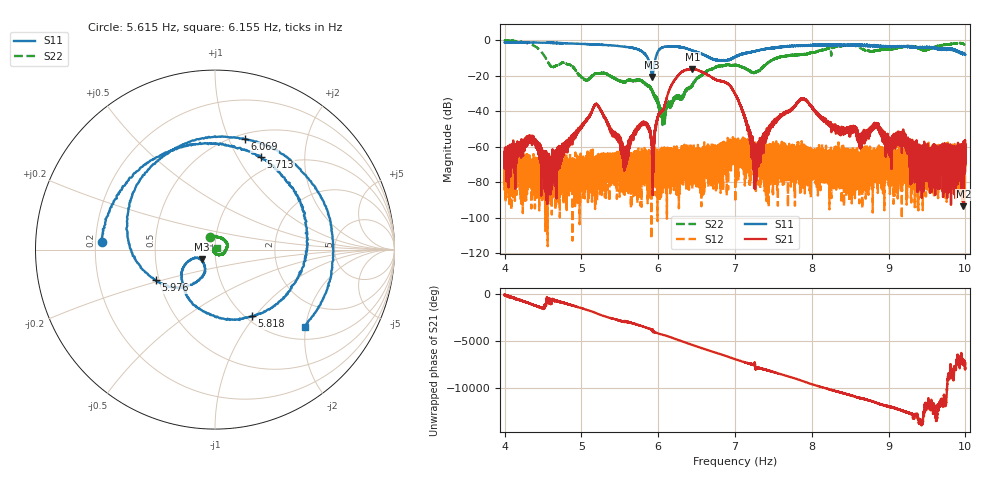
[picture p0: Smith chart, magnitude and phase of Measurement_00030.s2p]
!Created with skrf (http://scikit-rf.org).
# Hz S RI R 50.0
!freq ReS11 ImS11 ReS21 ImS21 ReS12 ImS12 ReS22 ImS22
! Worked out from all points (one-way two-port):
!   14001 points, 4 Hz to 10 Hz, reference 50 ohm
!   highest |S21| = -16.33 dB at 6.446 Hz (marker M1); lowest = -93.6 dB at 9.974 Hz (marker M2)
!   lowest |S11| = -20.7 dB at 5.921 Hz (marker M3), VSWR 1.20, Z = 42.8 - j4.61 ohm
!   |S11| at or under -10 dB: 5.863 Hz to 5.967 Hz (104.1 mHz wide, 1.76 % of centre); 6.678 Hz to 6.971 Hz (292.7 mHz wide, 4.29 % of centre); 6.974542 Hz to 6.975909 Hz (1.367 mHz wide, 0.0196 % of centre) (the widest 3 of 13)
!   |S22| runs from -47.9 to -0.2 dB; largest |S21 - S12| = 0.15
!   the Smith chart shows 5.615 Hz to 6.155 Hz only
!   S11 on the Smith chart (normalised r, x): 5.615 Hz: 0.23, +0.03; 5.713 Hz: 0.82, +1.26; 5.818 Hz: 1.07, -0.96; 5.976 Hz: 0.48, -0.19; 6.069 Hz: 0.56, +1.15; 6.155 Hz: 1.30, -1.97
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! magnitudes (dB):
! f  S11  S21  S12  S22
! 4 Hz  -1.2  -63.4  -74.1  -0.2
! 4.355 Hz  -1.3  -55.9  -84.3  -2.6
! 4.581 Hz  -1.5  -68.8  -74.4  -13.5
! 5 Hz  -2.1  -48.6  -72.7  -20.7
! 5.203 Hz  -2.5  -36.2  -86.7  -18.8
! 5.556 Hz  -3.7  -64.7  -86.3  -23.6
! 5.615 Hz  -4.0  -62.2  -71.9  -22.4
! 5.713 Hz  -4.8  -52.4  -76.1  -22.8
! 5.818 Hz  -7.5  -46.4  -62.7  -24.1
! 5.921 Hz  -20.7  -61.3  -63.8  -28.2
! 5.976 Hz  -8.6  -46.9  -83.3  -32.8
! 6 Hz  -6.2  -42.9  -80.8  -35.5
! 6.069 Hz  -3.9  -38.9  -65.2  -45.9
! 6.155 Hz  -3.6  -26.9  -65.2  -36.4
! 6.446 Hz  -5.9  -16.3  -67.1  -25.5
! 7 Hz  -9.5  -30.2  -61.2  -14.1
! 7.268 Hz  -6.1  -64.4  -62.9  -18.0
! 7.585 Hz  -4.1  -43.0  -70.6  -9.5
! 8 Hz  -3.0  -37.7  -71.9  -6.9
! 9 Hz  -3.7  -58.6  -73.7  -5.1
! 9.974 Hz  -7.5  -93.6  -75.0  -2.1
! 10 Hz  -8.2  -69.4  -69.0  -3.1
